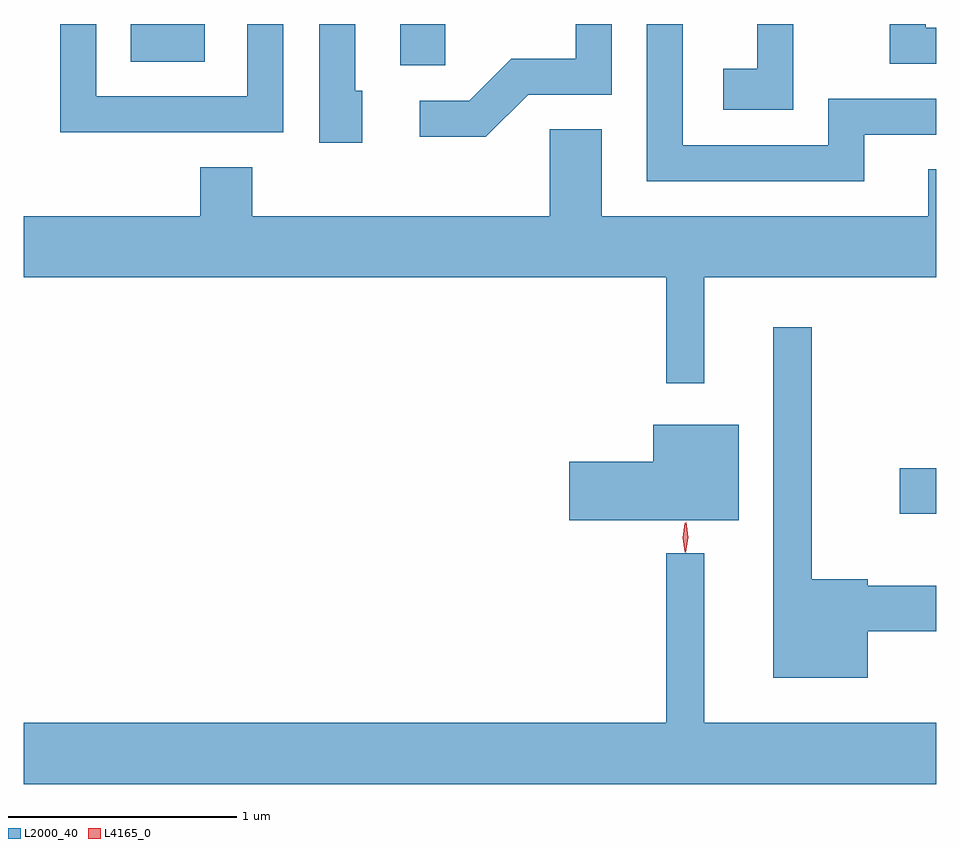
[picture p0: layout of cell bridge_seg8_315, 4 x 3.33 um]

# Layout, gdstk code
import gdstk
lib = gdstk.Library(unit=1e-6, precision=1e-09)
def R(c, l, rs):  # rectangles x0, y0, x1, y1
    for r in rs: c.add(gdstk.rectangle(r[:2], r[2:], *l))
def P(c, l, *ps):  # polygons
    for p in ps: c.add(gdstk.Polygon(p, *l))
L2000_40 = (2000, 40)
L4165_0 = (4165, 0)

bridge_seg8_315 = lib.new_cell('bridge_seg8_315')
R(bridge_seg8_315, L2000_40, [(1007.806,1910.861,1007.966,1911.059), (1005.616,1912.826,1005.814,1913.006), (1004.436,1912.841,1004.759,1913.006)])
P(bridge_seg8_315, L2000_40, [(1007.339,1913.006),(1007.181,1913.006),(1007.181,1912.809),(1007.031,1912.809),(1007.031,1912.631),(1007.339,1912.631)],
  [(1005.449,1912.714),(1005.419,1912.714),(1005.419,1913.006),(1005.261,1913.006),(1005.261,1912.486),(1005.449,1912.486)],
  [(1007.649,1912.521),(1007.966,1912.521),(1007.966,1912.679),(1007.491,1912.679),(1007.491,1912.474),(1006.854,1912.474),(1006.854,1913.006),(1006.696,1913.006),(1006.696,1912.316),(1007.649,1912.316)],
  [(1007.966,1912.989),(1007.919,1912.989),(1007.919,1913.006),(1007.761,1913.006),(1007.761,1912.831),(1007.966,1912.831)],
  [(1005.104,1913.006),(1004.946,1913.006),(1004.946,1912.689),(1004.284,1912.689),(1004.284,1913.006),(1004.126,1913.006),(1004.126,1912.531),(1005.104,1912.531)],
  [(1006.177,1912.696),(1006.544,1912.696),(1006.544,1913.006),(1006.386,1913.006),(1006.386,1912.854),(1006.104,1912.854),(1005.919,1912.669),(1005.703,1912.669),(1005.703,1912.511),(1005.992,1912.511)],
  [(1006.949,1911.896),(1007.966,1911.896),(1007.966,1912.369),(1007.931,1912.369),(1007.931,1912.164),(1006.499,1912.164),(1006.499,1912.544),(1006.271,1912.544),(1006.271,1912.164),(1004.969,1912.164),(1004.969,1912.379),(1004.741,1912.379),(1004.741,1912.164),(1003.966,1912.164),(1003.966,1911.896),(1006.781,1911.896),(1006.781,1911.433),(1006.949,1911.433)],
  [(1007.664,1910.346),(1007.966,1910.346),(1007.966,1910.544),(1007.664,1910.544),(1007.664,1910.574),(1007.419,1910.574),(1007.419,1911.678),(1007.251,1911.678),(1007.251,1910.141),(1007.664,1910.141)],
  [(1007.099,1911.249),(1006.726,1911.249),(1006.726,1911.089),(1006.356,1911.089),(1006.356,1910.831),(1007.099,1910.831)],
  [(1007.966,1909.944),(1006.949,1909.944),(1006.949,1910.688),(1006.781,1910.688),(1006.781,1909.944),(1003.966,1909.944),(1003.966,1909.676),(1007.966,1909.676)])
P(bridge_seg8_315, L4165_0, [(1006.868,1910.69),(1006.868,1910.69),(1006.859,1910.758),(1006.869,1910.826),(1006.869,1910.826),(1006.87,1910.826),(1006.879,1910.758),(1006.868,1910.69)],
  [(1006.864,1910.693),(1006.855,1910.756),(1006.864,1910.819),(1006.865,1910.82),(1006.865,1910.819),(1006.875,1910.756),(1006.865,1910.693),(1006.865,1910.693)])

lib.write_gds('bridge_seg8_315.gds')
